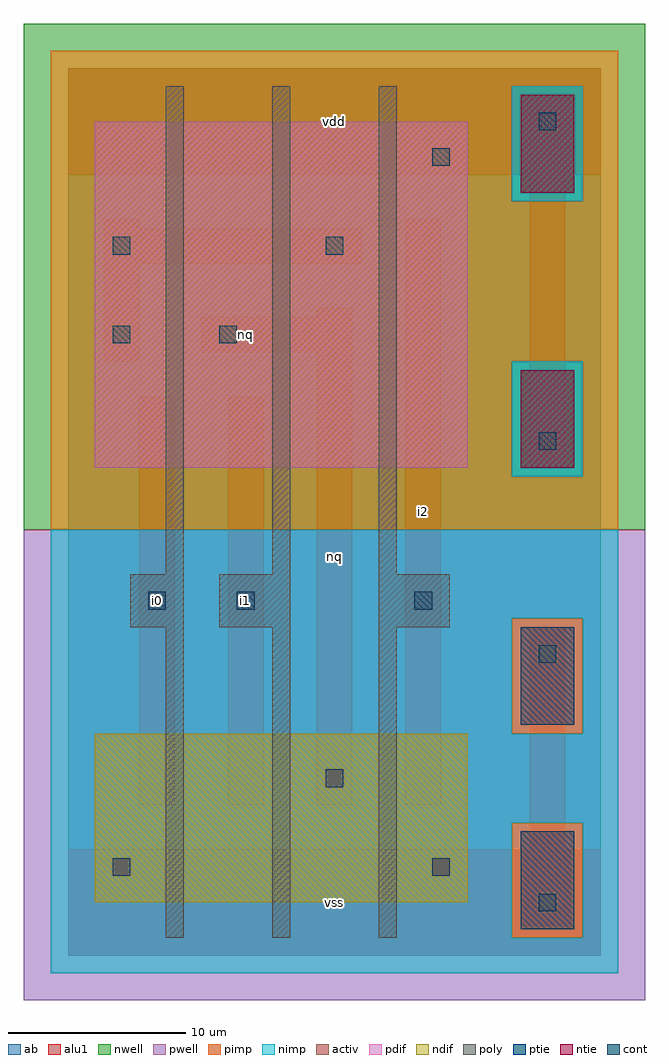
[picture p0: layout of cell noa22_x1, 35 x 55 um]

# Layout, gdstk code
import gdstk
lib = gdstk.Library(unit=1e-6, precision=1e-09)
def R(c, l, rs):  # rectangles x0, y0, x1, y1
    for r in rs: c.add(gdstk.rectangle(r[:2], r[2:], *l))
def A(c, l, x, y, w, h, nx, ny, dx, dy):  # array of equal rectangles
    R(c, l, [(x+i*dx, y+j*dy, x+i*dx+w, y+j*dy+h) for i in range(nx) for j in range(ny)])
ndif = (3, 0)
pdif = (4, 0)
ntie = (5, 0)
ptie = (6, 0)
cont = (25, 0)
pwell = (41, 0)
nwell = (42, 0)
activ = (43, 0)
pimp = (44, 0)
nimp = (45, 0)
poly = (46, 0)
alu1 = (49, 0)
ab = (63, 0)

noa22_x1 = lib.new_cell('noa22_x1')
R(noa22_x1, ndif, [(1.5,3,22.5,12.5)])
R(noa22_x1, pdif, [(1.5,27.5,22.5,47)])
R(noa22_x1, ntie, [(25.5,27.5,28.5,33), (25.5,43,28.5,48.5)])
R(noa22_x1, ptie, [(25.5,1.5,28.5,7), (25.5,13,28.5,18.5)])
R(noa22_x1, cont, [(26.5,2.5,27.5,3.5), (2.5,4.5,3.5,5.5), (20.5,4.5,21.5,5.5), (14.5,9.5,15.5,10.5), (26.5,16.5,27.5,17.5), (4.5,19.5,5.5,20.5), (9.5,19.5,10.5,20.5), (19.5,19.5,20.5,20.5), (26.5,28.5,27.5,29.5), (2.5,34.5,3.5,35.5), (8.5,34.5,9.5,35.5), (2.5,39.5,3.5,40.5), (14.5,39.5,15.5,40.5), (20.5,44.5,21.5,45.5), (26.5,46.5,27.5,47.5)])
R(noa22_x1, pwell, [(-2.5,-2.5,32.5,24)])
R(noa22_x1, nwell, [(-2.5,24,32.5,52.5)])
R(noa22_x1, activ, [(25.5,1.5,28.5,7), (1.5,3,22.5,12.5), (25.5,13,28.5,18.5), (1.5,27.5,22.5,47), (25.5,27.5,28.5,33), (25.5,43,28.5,48.5)])
R(noa22_x1, pimp, [(25,1,29,7.5), (25,12.5,29,19), (-1,24,31,27), (-1,27,25,33.5), (29,27,31,33.5), (-1,33.5,31,42.5), (-1,42.5,25,49), (29,42.5,31,49), (-1,49,31,51)])
R(noa22_x1, nimp, [(-1,-1,31,1), (-1,1,25,7.5), (29,1,31,7.5), (-1,7.5,31,12.5), (-1,12.5,25,19), (29,12.5,31,19), (-1,19,31,24), (25,27,29,33.5), (25,42.5,29,49)])
A(noa22_x1, poly, 5.5, 1, 1, 17.5, 3, 1, 6, 0)
A(noa22_x1, poly, 5.5, 21.5, 1, 27.5, 3, 1, 6, 0)
R(noa22_x1, poly, [(3.5,18.5,6.5,21.5), (8.5,18.5,12.5,21.5), (17.5,18.5,21.5,21.5)])
R(noa22_x1, alu1, [(0,0,30,6), (0,0,30,6), (26,6,28,18.5), (26,6,28,18.5), (4,8.5,6,31.5), (4,8.5,6,31.5), (9,8.5,11,31.5), (9,8.5,11,31.5), (14,8.5,16,34), (14,8.5,16,34), (19,8.5,21,41.5), (19,8.5,21,41.5), (26,27.5,28,44), (26,27.5,28,44), (2,33.5,4,39), (2,33.5,4,39), (7.5,34,16,36), (7.5,34,16,36), (14,36,16,36.5), (14,36,16,36.5), (2,39,16.5,41), (2,39,16.5,41), (2,41,4,41.5), (2,41,4,41.5), (0,44,30,50), (0,44,30,50)])
R(noa22_x1, ab, [(0,0,30,50)])
noa22_x1.add(gdstk.Label('i0', (5,20), layer=49, texttype=0))
noa22_x1.add(gdstk.Label('i1', (10,20), layer=49, texttype=0))
noa22_x1.add(gdstk.Label('nq', (10,35), layer=49, texttype=0))
noa22_x1.add(gdstk.Label('vss', (15,3), layer=49, texttype=0))
noa22_x1.add(gdstk.Label('nq', (15,22.5), layer=49, texttype=0))
noa22_x1.add(gdstk.Label('i2', (20,25), layer=49, texttype=0))
noa22_x1.add(gdstk.Label('vdd', (15,47), layer=49, texttype=0))

lib.write_gds('noa22_x1.gds')
